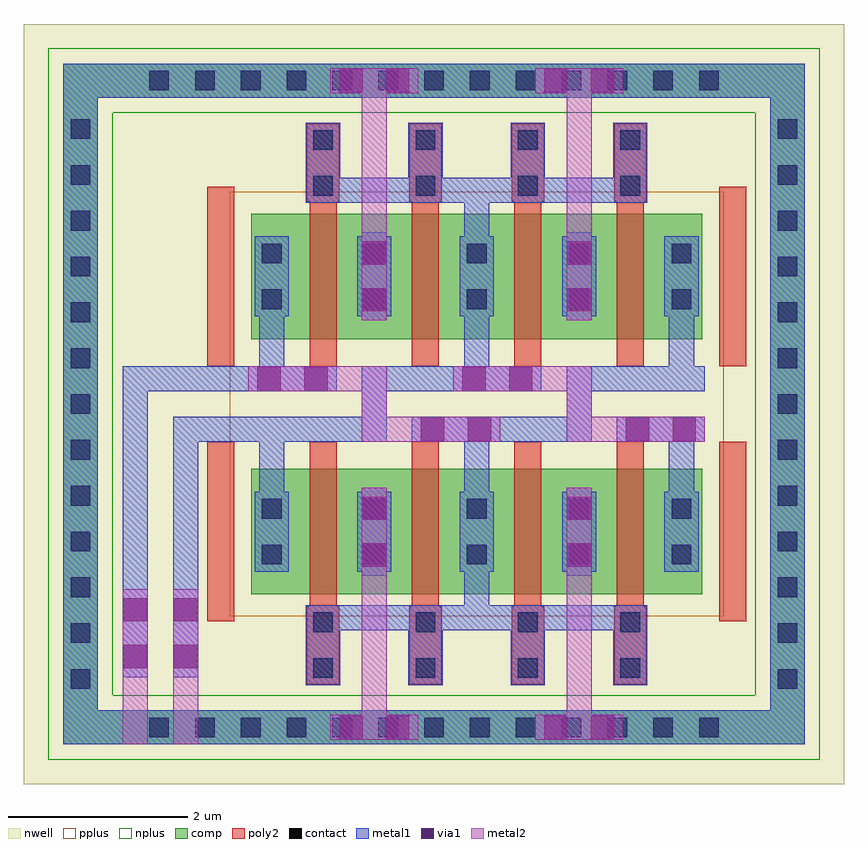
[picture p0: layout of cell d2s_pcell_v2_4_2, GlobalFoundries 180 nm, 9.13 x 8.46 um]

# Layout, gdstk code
from math import pi, radians
import gdstk
lib = gdstk.Library(unit=1e-6, precision=5e-09)
def R(c, l, rs):  # rectangles x0, y0, x1, y1
    for r in rs: c.add(gdstk.rectangle(r[:2], r[2:], *l))
def A(c, l, x, y, w, h, nx, ny, dx, dy):  # array of equal rectangles
    R(c, l, [(x+i*dx, y+j*dy, x+i*dx+w, y+j*dy+h) for i in range(nx) for j in range(ny)])
nwell = (21, 0)
comp = (22, 0)
poly2 = (30, 0)
pplus = (31, 0)
nplus = (32, 0)
contact = (33, 0)
metal1 = (34, 0)
via1 = (35, 0)
metal2 = (36, 0)

m1_m2 = lib.new_cell('M1_M2')
R(m1_m2, via1, [(0.1,0.01,0.36,0.27), (0.62,0.01,0.88,0.27)])
m1_m2.add(gdstk.FlexPath([(0,0.14),(0.98,0.14)], 0.28, ends="flush", simple_path=True, layer=34, datatype=0))  # metal1
m1_m2.add(gdstk.FlexPath([(0,0.14),(0.98,0.14)], 0.28, ends="flush", simple_path=True, layer=36, datatype=0))  # metal2

m1_m2_cross_pair = lib.new_cell('M1_M2_cross_pair')
R(m1_m2_cross_pair, via1, [(1.92,0.01,2.18,0.27), (2.44,0.01,2.7,0.27), (0.1,0.57,0.36,0.83), (0.62,0.57,0.88,0.83)])
m1_m2_cross_pair.add(gdstk.FlexPath([(0,0.14),(1.4,0.14),(1.4,0.7),(2.8,0.7)], 0.28, ends="flush", simple_path=True, layer=34, datatype=0))  # metal1
m1_m2_cross_pair.add(gdstk.FlexPath([(0,0.7),(0.98,0.7)], 0.28, ends="flush", simple_path=True, layer=34, datatype=0))  # metal1
m1_m2_cross_pair.add(gdstk.FlexPath([(1.82,0.14),(2.8,0.14)], 0.28, ends="flush", simple_path=True, layer=34, datatype=0))  # metal1
m1_m2_cross_pair.add(gdstk.FlexPath([(0,0.7),(1.4,0.7),(1.4,0.14),(2.8,0.14)], 0.28, ends="flush", simple_path=True, layer=36, datatype=0))  # metal2

m3_m2_cdns_4066195314517 = lib.new_cell('M3_M2_CDNS_40661953145175')
R(m3_m2_cdns_4066195314517, comp, [(0,0.3,0.46,1.7), (0.46,0.3,1.14,1.7), (1.14,0.3,1.6,1.7)])
R(m3_m2_cdns_4066195314517, poly2, [(0.65,0,0.95,2)])
R(m3_m2_cdns_4066195314517, contact, [(0.12,0.635,0.34,0.855), (1.26,0.635,1.48,0.855), (0.12,1.145,0.34,1.365), (1.26,1.145,1.48,1.365)])
R(m3_m2_cdns_4066195314517, metal1, [(0.04,0.555,0.42,1.445), (1.18,0.555,1.56,1.445)])

m3_m2_cdns_4066195314595 = lib.new_cell('M3_M2_CDNS_4066195314595')
A(m3_m2_cdns_4066195314595, poly2, 1.11, 1.83, 0.36, 0.87, 4, 1, 1.14, 0)
R(m3_m2_cdns_4066195314595, poly2, [(0,0,0.3,2), (5.7,0,6,2)])
A(m3_m2_cdns_4066195314595, contact, 1.18, 1.9, 0.22, 0.22, 4, 2, 1.14, 0.51)
A(m3_m2_cdns_4066195314595, metal1, 1.1, 1.82, 0.38, 0.89, 4, 1, 1.14, 0)
m3_m2_cdns_4066195314595.add(gdstk.FlexPath([(3,1.445),(3,1.82)], 0.28, ends="flush", simple_path=True, layer=34, datatype=0))  # metal1
m3_m2_cdns_4066195314595.add(gdstk.FlexPath([(1.48,1.96),(4.52,1.96)], 0.28, ends="flush", simple_path=True, layer=34, datatype=0))  # metal1
m3_m2_cdns_4066195314595.add(gdstk.Reference(m3_m2_cdns_4066195314517, (1.63,0)))
m3_m2_cdns_4066195314595.add(gdstk.Reference(m3_m2_cdns_4066195314517, (0.49,0)))
m3_m2_cdns_4066195314595.add(gdstk.Reference(m3_m2_cdns_4066195314517, (3.91,0)))
m3_m2_cdns_4066195314595.add(gdstk.Reference(m3_m2_cdns_4066195314517, (2.77,0)))

d2s_pcell_v2_4_2 = lib.new_cell('d2s_pcell_v2_4_2')
R(d2s_pcell_v2_4_2, nwell, [(0,0,9.13,8.46)])
R(d2s_pcell_v2_4_2, pplus, [(2.29,1.87,7.79,6.59)])
A(d2s_pcell_v2_4_2, contact, 1.395, 0.52, 0.22, 0.22, 13, 2, 0.51, 7.2)
A(d2s_pcell_v2_4_2, contact, 0.52, 1.06, 0.22, 0.22, 1, 13, 0, 0.51)
A(d2s_pcell_v2_4_2, contact, 8.39, 1.06, 0.22, 0.22, 1, 13, 0, 0.51)
d2s_pcell_v2_4_2.add(gdstk.FlexPath([(1.8,3.81),(1.8,1.19)], 0.28, ends="flush", simple_path=True, layer=34, datatype=0))  # metal1
d2s_pcell_v2_4_2.add(gdstk.FlexPath([(2.5,3.95),(1.66,3.95)], 0.28, ends="flush", simple_path=True, layer=34, datatype=0))  # metal1
d2s_pcell_v2_4_2.add(gdstk.FlexPath([(2.5,4.51),(1.38,4.51)], 0.28, ends="flush", simple_path=True, layer=34, datatype=0))  # metal1
d2s_pcell_v2_4_2.add(gdstk.FlexPath([(1.24,4.65),(1.24,1.19)], 0.28, ends="flush", simple_path=True, layer=34, datatype=0))  # metal1
d2s_pcell_v2_4_2.add(gdstk.FlexPath([(5.04,5.205),(5.04,4.65)], 0.28, ends="flush", simple_path=True, layer=34, datatype=0))  # metal1
d2s_pcell_v2_4_2.add(gdstk.FlexPath([(8.5,8.02),(8.5,0.63),(0.63,0.63),(0.63,7.83),(8.31,7.83)], 0.38, ends="flush", simple_path=True, layer=34, datatype=0))  # metal1
d2s_pcell_v2_4_2.add(gdstk.FlexPath([(5.04,3.81),(5.04,3.255)], 0.28, ends="flush", simple_path=True, layer=34, datatype=0))  # metal1
d2s_pcell_v2_4_2.add(gdstk.FlexPath([(2.76,3.81),(2.76,3.255)], 0.28, ends="flush", simple_path=True, layer=34, datatype=0))  # metal1
d2s_pcell_v2_4_2.add(gdstk.FlexPath([(2.76,5.205),(2.76,4.65)], 0.28, ends="flush", simple_path=True, layer=34, datatype=0))  # metal1
d2s_pcell_v2_4_2.add(gdstk.FlexPath([(7.32,3.81),(7.32,3.255)], 0.28, ends="flush", simple_path=True, layer=34, datatype=0))  # metal1
d2s_pcell_v2_4_2.add(gdstk.FlexPath([(7.32,5.205),(7.32,4.65)], 0.28, ends="flush", simple_path=True, layer=34, datatype=0))  # metal1
d2s_pcell_v2_4_2.add(gdstk.FlexPath([(8.5,8.02),(8.5,0.63),(0.63,0.63),(0.63,7.83),(8.31,7.83)], 0.38, ends="flush", simple_path=True, layer=22, datatype=0))  # comp
d2s_pcell_v2_4_2.add(gdstk.FlexPath([(6.18,6.14),(6.18,7.69)], 0.28, ends="flush", simple_path=True, layer=36, datatype=0))  # metal2
d2s_pcell_v2_4_2.add(gdstk.FlexPath([(3.9,6.14),(3.9,7.69)], 0.28, ends="flush", simple_path=True, layer=36, datatype=0))  # metal2
d2s_pcell_v2_4_2.add(gdstk.FlexPath([(1.8,1.19),(1.8,0.44)], 0.28, ends="flush", simple_path=True, layer=36, datatype=0))  # metal2
d2s_pcell_v2_4_2.add(gdstk.FlexPath([(1.24,1.19),(1.24,0.44)], 0.28, ends="flush", simple_path=True, layer=36, datatype=0))  # metal2
d2s_pcell_v2_4_2.add(gdstk.FlexPath([(6.18,2.32),(6.18,0.77)], 0.28, ends="flush", simple_path=True, layer=36, datatype=0))  # metal2
d2s_pcell_v2_4_2.add(gdstk.FlexPath([(3.9,2.32),(3.9,0.77)], 0.28, ends="flush", simple_path=True, layer=36, datatype=0))  # metal2
d2s_pcell_v2_4_2.add(gdstk.FlexPath([(8.5,8.19),(8.5,0.63),(0.63,0.63),(0.63,7.83),(8.86,7.83)], 0.72, ends="flush", simple_path=True, layer=32, datatype=0))  # nplus
d2s_pcell_v2_4_2.add(gdstk.Reference(m1_m2, (3.76,6.14), rotation=3*pi/2))
d2s_pcell_v2_4_2.add(gdstk.Reference(m1_m2, (6.04,6.14), rotation=3*pi/2))
d2s_pcell_v2_4_2.add(gdstk.Reference(m1_m2, (5.69,7.69)))
d2s_pcell_v2_4_2.add(gdstk.Reference(m1_m2, (3.41,7.69)))
d2s_pcell_v2_4_2.add(gdstk.Reference(m1_m2, (6.04,2.32), rotation=pi/2, x_reflection=True))
d2s_pcell_v2_4_2.add(gdstk.Reference(m1_m2, (1.1,2.17), rotation=3*pi/2))
d2s_pcell_v2_4_2.add(gdstk.Reference(m1_m2, (1.66,2.17), rotation=3*pi/2))
d2s_pcell_v2_4_2.add(gdstk.Reference(m1_m2_cross_pair, (4.78,3.81)))
d2s_pcell_v2_4_2.add(gdstk.Reference(m3_m2_cdns_4066195314595, (8.04,4.65), rotation=pi, x_reflection=True))
d2s_pcell_v2_4_2.add(gdstk.Reference(m1_m2_cross_pair, (2.5,3.81)))
d2s_pcell_v2_4_2.add(gdstk.Reference(m3_m2_cdns_4066195314595, (8.04,3.81), rotation=pi))
d2s_pcell_v2_4_2.add(gdstk.Reference(m1_m2, (3.76,2.32), rotation=pi/2, x_reflection=True))
d2s_pcell_v2_4_2.add(gdstk.Reference(m1_m2, (5.69,0.77), x_reflection=True))
d2s_pcell_v2_4_2.add(gdstk.Reference(m1_m2, (3.41,0.77), x_reflection=True))

lib.write_gds('d2s_pcell_v2_4_2.gds')
